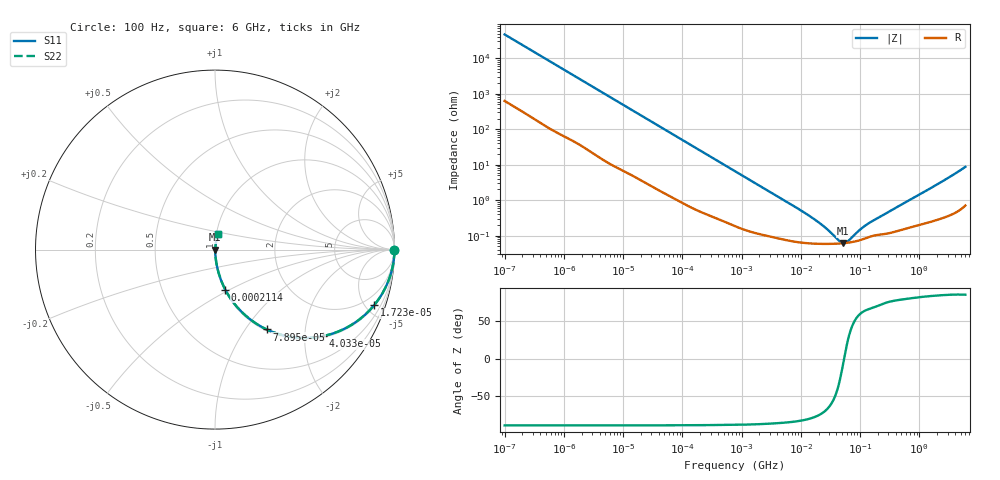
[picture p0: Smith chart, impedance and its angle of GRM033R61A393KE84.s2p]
!Murata Part Number: GRM033R61A393KE84
!These Parameters are Measured in Series Mode Connection
!Data Generated on Mar 30, 2021
!  o--ll--o
!Port1  Port2
!  o------o
!Operation Temp=25[degC], DC Bias Voltage=0[V]
!Freq. Start=100[Hz] Stop=6[GHz] 401[Steps]
# Hz S RI R 50
!Freq.(Hz) S11(Real) S11(Imag) S21(Real) S21(Imag) S12(Real) S12(Imag) S22(Real) S22(Imag)
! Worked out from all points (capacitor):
!   401 points, 100 Hz to 6 GHz, reference 50 ohm
!   read as one part in series: C = 33.8 nF near 109 Hz
!   lowest |Z| = 61.2 mohm at 52.11 MHz (marker M1)
!   series resonance near 53.82 MHz, so ESL is about 260 pH
!   S11 on the Smith chart (normalised r, x): 100 Hz: open; 17.23 kHz: 1.08, -5.70; 40.34 kHz: 1.04, -2.45; 78.95 kHz: 1.02, -1.26; 211.4 kHz: 1.01, -0.48; 6 GHz: 1.01, +0.17
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100  1 -0.00213  3.29e-05 0.00213  3.29e-05 0.00213  1 -0.00213
2008  0.9977 -0.0415  0.00231 0.0415  0.00231 0.0415  0.9977 -0.0415
6433  0.9812 -0.1295  0.0188 0.1295  0.0188 0.1295  0.9812 -0.1295
17227  0.8867 -0.3097  0.1133 0.3097  0.1133 0.3097  0.8867 -0.3097
25777  0.7816 -0.4058  0.2184 0.4058  0.2184 0.4058  0.7816 -0.4058
40335  0.5991 -0.4825  0.4009 0.4825  0.4009 0.4825  0.5991 -0.4825
55182  0.4478 -0.4894  0.5522 0.4894  0.5522 0.4894  0.4478 -0.4894
78952  0.2876 -0.4445  0.7124 0.4445  0.7124 0.4445  0.2876 -0.4445
123542  0.1449 -0.3436  0.8551 0.3436  0.8551 0.3436  0.1449 -0.3436
211427  0.0572 -0.223  0.9428 0.223  0.9428 0.223  0.0572 -0.223
395726  0.0189 -0.1251  0.9811 0.1251  0.9811 0.1251  0.0189 -0.1251
774597  0.00614 -0.0654  0.9939 0.0654  0.9939 0.0654  0.00614 -0.0654
2481164  0.00144 -0.0208  0.9986 0.0208  0.9986 0.0208  0.00144 -0.0208
1.555665e7  0.000606 -0.00313  0.9994 0.00313  0.9994 0.00313  0.000606 -0.00313
2.662322e7  0.000584 -0.00151  0.9994 0.00151  0.9994 0.00151  0.000584 -0.00151
4.556224e7  0.000598 -0.000329  0.9994 0.000329  0.9994 0.000329  0.000598 -0.000329
5.211241e7  0.000609 -6.3e-05  0.9994 6.3e-05  0.9994 6.3e-05  0.000609 -6.3e-05
6.233367e7  0.000629 0.00029  0.9994 -0.00029  0.9994 -0.00029  0.000629 0.00029
1.275994e8  0.000858 0.00182  0.9991 -0.00182  0.9991 -0.00182  0.000858 0.00182
3.124326e8  0.00119 0.00465  0.9988 -0.00465  0.9988 -0.00465  0.00119 0.00465
1.95892e9  0.00346 0.0269  0.9965 -0.0269  0.9965 -0.0269  0.00346 0.0269
6e9  0.0143 0.0848  0.9857 -0.0848  0.9857 -0.0848  0.0143 0.0848
